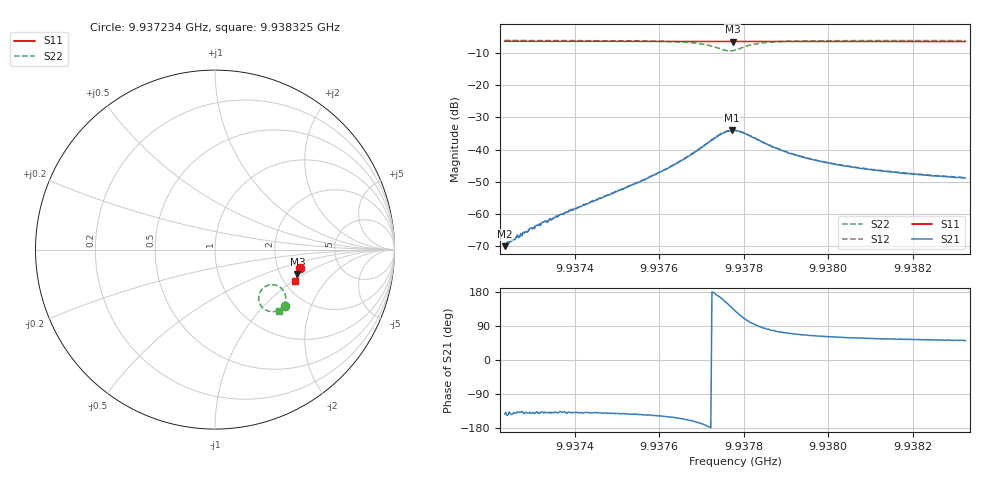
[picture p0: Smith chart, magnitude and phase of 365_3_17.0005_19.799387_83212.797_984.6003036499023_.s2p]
#  HZ  S  RI  R  50.00
! Rohde & Schwarz Vector Network Analyzer
! Rohde-Schwarz,ZNB20-2Port,1311601062101988,3.16
! Created: UTC 3/20/2024, 11:08:24 PM
! freq[Hz]  re:S11  im:S11  re:S21  im:S21  re:S12  im:S12  re:S22  im:S22
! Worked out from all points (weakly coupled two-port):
!   401 points, 9.937234 GHz to 9.938325 GHz, reference 50 ohm
!   highest |S21| = -34.06 dB at 9.937771 GHz (marker M1); lowest = -70.1 dB at 9.937234 GHz (marker M2)
!   lowest |S11| = -6.4 dB at 9.937774 GHz (marker M3), VSWR 2.84, Z = 124 - j44.3 ohm
!   |S11| at or under -10 dB: nowhere
!   |S22| runs from -9.3 to -6.0 dB; largest |S21 - S12| = 0.00082
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9.9372341e9  0.4725 -0.1038  -0.000248 -0.000191  -0.000233 -0.000218  0.3882 -0.3124
9.9372804e9  0.4716 -0.107  -0.000392 -0.00031  -0.000403 -0.000325  0.3849 -0.3158
9.9372995e9  0.4711 -0.1084  -0.000453 -0.00038  -0.000447 -0.000361  0.3835 -0.317
9.9373267e9  0.4706 -0.1102  -0.000578 -0.000483  -0.000577 -0.000477  0.3812 -0.319
9.9373404e9  0.4703 -0.111  -0.000613 -0.000566  -0.000628 -0.00054  0.3801 -0.3199
9.9374167e9  0.4688 -0.1161  -0.000973 -0.000871  -0.00103 -0.000888  0.373 -0.3258
9.9375421e9  0.466 -0.1245  -0.00234 -0.00177  -0.00239 -0.00173  0.3554 -0.337
9.9375994e9  0.4647 -0.1284  -0.00369 -0.00232  -0.00373 -0.00231  0.3414 -0.3426
9.9376621e9  0.4629 -0.1326  -0.00672 -0.00288  -0.00687 -0.00283  0.3132 -0.3456
9.9377084e9  0.4613 -0.1356  -0.0116 -0.00172  -0.0118 -0.00149  0.2745 -0.3316
9.9377466e9  0.4595 -0.1375  -0.0167 0.00503  -0.0169 0.00556  0.2432 -0.2726
9.9377711e9  0.459 -0.1381  -0.0149 0.013  -0.0146 0.0138  0.2687 -0.214
9.9377739e9  0.4588 -0.138  -0.0142 0.0137  -0.014 0.0144  0.275 -0.2089
9.9377793e9  0.459 -0.1383  -0.0126 0.015  -0.0124 0.0156  0.2883 -0.2016
9.9378011e9  0.4591 -0.1393  -0.00588 0.0168  -0.00556 0.0173  0.3411 -0.1988
9.9378393e9  0.4592 -0.1421  0.000578 0.0136  0.00097 0.0137  0.3861 -0.2369
9.9378693e9  0.4588 -0.1443  0.00233 0.0108  0.00254 0.0108  0.3935 -0.2622
9.9379102e9  0.4578 -0.1471  0.003 0.00815  0.00318 0.00818  0.393 -0.2849
9.937962e9  0.4566 -0.1506  0.00305 0.0063  0.00314 0.00629  0.3883 -0.3017
9.9380356e9  0.4546 -0.1556  0.00285 0.00482  0.00294 0.00484  0.381 -0.3164
9.9381446e9  0.4518 -0.1626  0.00254 0.00374  0.00264 0.00371  0.3716 -0.3296
9.9383246e9  0.4467 -0.1742  0.00225 0.00281  0.00234 0.00283  0.3587 -0.3442
